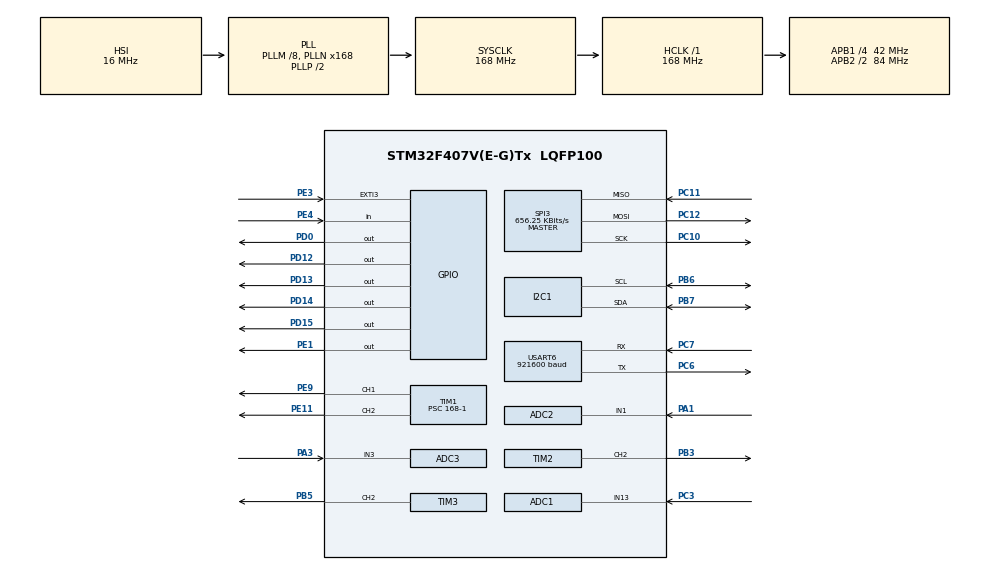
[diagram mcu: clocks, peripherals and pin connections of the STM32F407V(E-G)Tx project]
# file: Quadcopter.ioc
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ADC1.Channel-0\#ChannelRegularConversion=ADC_CHANNEL_13
ADC1.ClockPrescaler=ADC_CLOCK_SYNC_PCLK_DIV4
ADC1.ContinuousConvMode=ENABLE
ADC1.NbrOfConversion=1
ADC1.NbrOfConversionFlag=1
ADC1.Rank-0\#ChannelRegularConversion=1
ADC1.Resolution=ADC_RESOLUTION_8B
ADC1.SamplingTime-0\#ChannelRegularConversion=ADC_SAMPLETIME_3CYCLES
ADC1.master=1
ADC2.Channel-0\#ChannelRegularConversion=ADC_CHANNEL_1
ADC2.ClockPrescaler=ADC_CLOCK_SYNC_PCLK_DIV4
ADC2.ContinuousConvMode=ENABLE
ADC2.NbrOfConversionFlag=1
ADC2.Rank-0\#ChannelRegularConversion=1
ADC2.Resolution=ADC_RESOLUTION_8B
ADC2.SamplingTime-0\#ChannelRegularConversion=ADC_SAMPLETIME_3CYCLES
ADC3.Channel-0\#ChannelRegularConversion=ADC_CHANNEL_3
ADC3.ClockPrescaler=ADC_CLOCK_SYNC_PCLK_DIV4
ADC3.ContinuousConvMode=ENABLE
ADC3.NbrOfConversionFlag=1
ADC3.Rank-0\#ChannelRegularConversion=1
ADC3.Resolution=ADC_RESOLUTION_8B
ADC3.SamplingTime-0\#ChannelRegularConversion=ADC_SAMPLETIME_3CYCLES
I2C1.I2C_Mode=I2C_Fast
Mcu.Family=STM32F4
Mcu.Name=STM32F407V(E-G)Tx
Mcu.Package=LQFP100
NVIC.EXTI3_IRQn=true\:0\:0\:false\:false\:true\:true\:true\:true
NVIC.PriorityGroup=NVIC_PRIORITYGROUP_4
PA1.Signal=ADCx_IN1
PA3.Signal=ADCx_IN3
PB3.Signal=S_TIM2_CH2
PB5.Signal=S_TIM3_CH2
PB6.Mode=I2C
PB6.Signal=I2C1_SCL
PB7.Mode=I2C
PB7.Signal=I2C1_SDA
PC10.Mode=Full_Duplex_Master
PC10.Signal=SPI3_SCK
PC11.Mode=Full_Duplex_Master
PC11.Signal=SPI3_MISO
PC12.Mode=Full_Duplex_Master
PC12.Signal=SPI3_MOSI
PC14-OSC32_IN.Mode=LSE-External-Oscillator
PC14-OSC32_IN.Signal=RCC_OSC32_IN
PC15-OSC32_OUT.Mode=LSE-External-Oscillator
PC15-OSC32_OUT.Signal=RCC_OSC32_OUT
PC3.Signal=ADCx_IN13
PC6.Mode=Asynchronous
PC6.Signal=USART6_TX
PC7.Mode=Asynchronous
PC7.Signal=USART6_RX
PD0.Signal=GPIO_Output
PD12.Signal=GPIO_Output
PD13.Signal=GPIO_Output
PD14.Signal=GPIO_Output
PD15.Signal=GPIO_Output
PE1.Signal=GPIO_Output
PE11.Signal=S_TIM1_CH2
PE3.Signal=GPXTI3
PE4.Signal=GPIO_Input
PE9.Signal=S_TIM1_CH1
PH0-OSC_IN.Mode=HSE-External-Oscillator
PH0-OSC_IN.Signal=RCC_OSC_IN
PH1-OSC_OUT.Mode=HSE-External-Oscillator
PH1-OSC_OUT.Signal=RCC_OSC_OUT
ProjectManager.HeapSize=0x200
ProjectManager.StackSize=0x400
ProjectManager.TargetToolchain=STM32CubeIDE
RCC.48MHZClocksFreq_Value=67200000
RCC.AHBFreq_Value=168000000
RCC.APB1CLKDivider=RCC_HCLK_DIV4
RCC.APB1Freq_Value=42000000
RCC.APB1TimFreq_Value=84000000
RCC.APB2CLKDivider=RCC_HCLK_DIV2
RCC.APB2Freq_Value=84000000
RCC.APB2TimFreq_Value=168000000
RCC.CortexFreq_Value=168000000
RCC.HCLKFreq_Value=168000000
RCC.HSE_VALUE=8000000
RCC.HSI_VALUE=16000000
RCC.PLLM=8
RCC.PLLN=168
RCC.PLLQ=5
RCC.SYSCLKFreq_VALUE=168000000
RCC.SYSCLKSource=RCC_SYSCLKSOURCE_PLLCLK
RCC.VCOOutputFreq_Value=336000000
SH.ADCx_IN1.0=ADC2_IN1,IN1
SH.ADCx_IN13.0=ADC1_IN13,IN13
SH.ADCx_IN3.0=ADC3_IN3,IN3
SH.S_TIM1_CH1.0=TIM1_CH1,PWM Generation1 CH1
SH.S_TIM1_CH2.0=TIM1_CH2,PWM Generation2 CH2
SH.S_TIM2_CH2.0=TIM2_CH2,PWM Generation2 CH2
SH.S_TIM3_CH2.0=TIM3_CH2,PWM Generation2 CH2
SPI3.BaudRatePrescaler=SPI_BAUDRATEPRESCALER_64
SPI3.CLKPhase=SPI_PHASE_2EDGE
SPI3.CLKPolarity=SPI_POLARITY_HIGH
SPI3.CalculateBaudRate=656.25 KBits/s
SPI3.Direction=SPI_DIRECTION_2LINES
SPI3.Mode=SPI_MODE_MASTER
SPI3.VirtualNSS=VM_NSSHARD
SPI3.VirtualType=VM_MASTER
TIM1.Channel-PWM\ Generation1\ CH1=TIM_CHANNEL_1
TIM1.Channel-PWM\ Generation2\ CH2=TIM_CHANNEL_2
TIM1.Period=3000
TIM1.Prescaler=168-1
TIM12.Prescaler=84-1
TIM2.AutoReloadPreload=TIM_AUTORELOAD_PRELOAD_ENABLE
TIM2.Channel-PWM\ Generation2\ CH2=TIM_CHANNEL_2
TIM2.Period=3000
TIM2.Prescaler=84-1
TIM3.AutoReloadPreload=TIM_AUTORELOAD_PRELOAD_ENABLE
TIM3.Channel-PWM\ Generation2\ CH2=TIM_CHANNEL_2
TIM3.CounterMode=TIM_COUNTERMODE_UP
TIM3.Period=3000
TIM3.Prescaler=84-1
TIM5.Prescaler=21-1
USART6.BaudRate=921600
USART6.Mode=MODE_TX
USART6.VirtualMode=VM_ASYNC
USART6.WordLength=WORDLENGTH_8B
VP_TIM12_VS_ClockSourceINT.Mode=Internal
VP_TIM1_VS_ClockSourceINT.Mode=Internal
VP_TIM2_VS_ClockSourceINT.Mode=Internal
VP_TIM3_VS_ClockSourceINT.Mode=Internal
VP_TIM5_VS_ClockSourceINT.Mode=Internal
board=custom

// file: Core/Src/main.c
/* USER CODE BEGIN Header */
/**
  ******************************************************************************
  * @file           : main.c
  * @brief          : Main program body
  ******************************************************************************
  * @attention
  *
  * Copyright (c) 2024 STMicroelectronics.
  * All rights reserved.
  *
  * This software is licensed under terms that can be found in the LICENSE file
  * in the root directory of this software component.
  * If no LICENSE file comes with this software, it is provided AS-IS.
  *
  ******************************************************************************
  */
/* USER CODE END Header */
#include "main.h"

/* USER CODE BEGIN Includes */
/*#########################################################################################
 * Author:
 * =======
 * Toms Jiji Varghese
 * MTech ESE, DESE, IISc
 * Email: tomsjiji@iisc.ac.in
 * Ph.: 9925679264
 *
 *
 * Connections:
 * ===========
 *
 * RX_PPM 	-> PE3			-> TIM5
 *
 * MPU6050
 * -------
 * SCL		-> PB6
 * SDA		-> PB7
 *
 * PWM OUTPUT
 * ----------
 * M1		-> LT -> PB5 	-> TIM3_CH2
 * M2		-> LB -> PB3 	-> TIM2_CH2
 * M3		-> RT -> PE9 	-> TIM1_CH1
 * M4		-> RB -> PE11	-> TIM1_CH2
 *
 * Remaining
 * ---------
 * ADC Read
 * Interrupt Priorities
 * PID tuning channel mapping			----
 * Kalman/Complementary Filter			----
 * PID									----
 * Timer for PID						----
 * Calibrate Motor before starting		----
 * Compensate for battery voltage drop
 *
 * Make sure the receiver does not get plugged out	---
 *
 *
 * ALL LEDS CONSTANT ON - RX CALIBRATION STARTED
 * ALL LEDS BLINKING VERY FAST - RX CALIBRATION VARIFICATION GOING ON
 * ALL LEDS BLINKING NORMALLY  - WAITING TO ARM THE QUADCOPTER
 * LED ROTATES CW ONCE - MPU6050 INITIALIZATION DONE
 * LED ROTATES CW CONTINOUSLY - MPU6050 INITIALIZATION PROBLEM - REMOVE AND RECONNECT POWER
 *
 * Joystick special controls
 * =========================
 * RX Calibration verification
 * 			|-> left joystick to top right and right joystick to bottom  right
 * 			|-> left joystick to bottom left and right joystick to top  left
 * Both Joystick bottom and in opposite directions -> Initial ARM
 * Bottom - LEFT -> ARM/ UNARM
 * 			|-> Top-Right and then bottom -> all motors controlled directly via throttle
 * 				|-> bottom - left -> get out
 *
 * CH5 -> P Gain
 * CH6 -> D Gain
 *#########################################################################################
 */

// Interrupt priorities

#include "MPU6050.h"
#include "DEBUG_UART.h"
#include "ESP01.h"
#include <string.h>
#include <stdio.h>
#include "Quad.h"
#include "PWM.h"
/* USER CODE END Includes */

/* USER CODE BEGIN PD */
//#define PPM_READ
//#define PPM_READ_DEBUG
//#define LED_TEST
//#define LED_ROTATE_TEST
#define MPU6050__Testing
//#define MPU6050_MEMS
//#define PWM_testing
//#define QUAD_ARM_TEST
//#define ADC_TEST

//#define QUADCOPTER

#ifdef MPU6050__Testing
	#define PRINT_GYRO
	#define PRINT_ACC
#endif

#ifdef QUAD_ARM_TEST
	#ifndef PPM_READ
		#define PPM_READ
	#endif
#endif

#ifdef QUADCOPTER
	#ifndef PPM_READ
		#define PPM_READ
	#endif
#endif
//#define ESP01
/* USER CODE END PD */

ADC_HandleTypeDef hadc1;
ADC_HandleTypeDef hadc2;
ADC_HandleTypeDef hadc3;

I2C_HandleTypeDef hi2c1;

SPI_HandleTypeDef hspi3;

TIM_HandleTypeDef htim1;
TIM_HandleTypeDef htim2;
TIM_HandleTypeDef htim3;
TIM_HandleTypeDef htim5;
TIM_HandleTypeDef htim12;

UART_HandleTypeDef huart6;

/* USER CODE BEGIN PV */
volatile Quad_PID_DATA QUAD_PID;
volatile QUAD_ORIENTATION QUAD;
volatile Struct_Receiver RX_DATA;
#ifdef PPM_READ

	volatile uint16_t t=0;
	volatile int pulse=0;

	volatile uint32_t IC_Val1 = 0;
	volatile uint32_t IC_Val2 = 0;
	volatile uint32_t Difference = 0;
	volatile int Is_First_Captured = 0;

#endif

Struct_MPU6050 MPU6050;
uint8_t uart2_rx_data = 0;
uint8_t uart2_rx_flag = 0;
/* USER CODE END PV */

void SystemClock_Config(void);
static void MX_GPIO_Init(void);
static void MX_I2C1_Init(void);
static void MX_USART6_UART_Init(void);
static void MX_TIM1_Init(void);
static void MX_TIM2_Init(void);
static void MX_TIM3_Init(void);
static void MX_TIM5_Init(void);
static void MX_TIM12_Init(void);
static void MX_ADC1_Init(void);
static void MX_ADC2_Init(void);
static void MX_ADC3_Init(void);
static void MX_SPI3_Init(void);
/* USER CODE BEGIN PFP */
/*Function prototype for delay and UART2 configuration functions */

/* USER CODE END PFP */

/* USER CODE BEGIN 0 */
#ifdef PPM_READ
void HAL_GPIO_EXTI_Callback(uint16_t GPIO_Pin){
		#ifdef PPM_READ_DEBUG
		uint8_t message[100] = {'\0'};
		#endif
		if(GPIO_Pin == GPIO_PIN_3) // (E3 Pin)
		{
			t = __HAL_TIM_GET_COUNTER(&htim5)/4;
			__HAL_TIM_SET_COUNTER(&htim5, 0);
			if(t>3000){
				pulse = 1;
			}
			else{
				if(RX_DATA.Calibration_status == 1){
					switch(pulse)
					{
					case 1:
						RX_DATA.CH1 = (t-RX_DATA.CH1_offset)*RX_DATA.CH1_scale;
						if(RX_DATA.CH1 < 1000) RX_DATA.CH1 = 1000;
						else if(RX_DATA.CH1 > 2000) RX_DATA.CH1 = 2000;
						break;
					case 2:
						RX_DATA.CH2 = (t-RX_DATA.CH2_offset)*RX_DATA.CH2_scale;
						if(RX_DATA.CH2 < 1000) RX_DATA.CH2 = 1000;
						else if(RX_DATA.CH2 > 2000) RX_DATA.CH2 = 2000;
						break;
					case 3:
						RX_DATA.CH3 = (t-RX_DATA.CH3_offset)*RX_DATA.CH3_scale;
						if(RX_DATA.CH3 < 1000) RX_DATA.CH3 = 1000;
						else if(RX_DATA.CH3 > 2000) RX_DATA.CH3 = 2000;
						break;
					case 4:
						RX_DATA.CH4 = (t-RX_DATA.CH4_offset)*RX_DATA.CH4_scale;
						if(RX_DATA.CH4 < 1000) RX_DATA.CH4 = 1000;
						else if(RX_DATA.CH4 > 2000) RX_DATA.CH4 = 2000;
						break;
					case 5:
						RX_DATA.CH5 = t;
						if(RX_DATA.CH5 < 1000) RX_DATA.CH5 = 1000;
						else if(RX_DATA.CH5 > 2000) RX_DATA.CH5 = 2000;
						break;
					case 6:
						RX_DATA.CH6 = t;
						if(RX_DATA.CH6 < 1000) RX_DATA.CH6 = 1000;
						else if(RX_DATA.CH6 > 2000) RX_DATA.CH6 = 2000;
						break;
					default:
						break;
					}
				}
				else{
					switch(pulse)
					{
					case 1:
						RX_DATA.CH1 = t;
						break;
					case 2:
						RX_DATA.CH2 = t;
						break;
					case 3:
						RX_DATA.CH3 = t;
						break;
					case 4:
						RX_DATA.CH4 = t;
						break;
					case 5:
						RX_DATA.CH5 = t;
						break;
					case 6:
						RX_DATA.CH6 = t;
						break;
					default:
						break;
					}
				}

				pulse++;
				if (pulse>8){
					pulse = 0;
					if(t>100)
						RX_DATA.RX_Valid = 1;
					#ifdef PPM_READ_DEBUG
						sprintf(message, "%u\t-\t%u\t-\t%u\t-\t%u\t-\t%u\t-\t%u\r\n",RX_DATA.CH1, RX_DATA.CH2, RX_DATA.CH3, RX_DATA.CH4, RX_DATA.CH5, RX_DATA.CH6);
						HAL_UART_Transmit(&huart6, message, sizeof(message), 100);
					#endif
				}
			}
		}
	}
#endif
/* USER CODE END 0 */

int main(void)
{
  /* USER CODE BEGIN 1 */
	char message[300] = {'\0'};
 	RX_DATA.Calibration_status = 0;
 	RX_DATA.RX_Valid = 0;
 	RX_DATA.CH1_max = 0;
 	RX_DATA.CH2_max = 0;
 	RX_DATA.CH3_max = 0;
 	RX_DATA.CH4_max = 0;

 	RX_DATA.CH1_min = 2000;
 	RX_DATA.CH2_min = 2000;
 	RX_DATA.CH3_min = 2000;
 	RX_DATA.CH4_min = 2000;

 	RX_DATA.CH1_offset = 0;
 	RX_DATA.CH2_offset = 0;
 	RX_DATA.CH3_offset = 0;
 	RX_DATA.CH4_offset = 0;

 	RX_DATA.CH1_scale = 1;
 	RX_DATA.CH2_scale = 1;
 	RX_DATA.CH3_scale = 1;
 	RX_DATA.CH4_scale = 1;
  /* USER CODE END 1 */

  /* MCU Configuration--------------------------------------------------------*/

  /* Reset of all peripherals, Initializes the Flash interface and the Systick. */
  HAL_Init();

  /* Configure the system clock */
  SystemClock_Config();

  /* Initialize all configured peripherals */
  MX_GPIO_Init();
  MX_I2C1_Init();
  MX_USART6_UART_Init();
  MX_TIM1_Init();
  MX_TIM2_Init();
  MX_TIM3_Init();
  MX_TIM5_Init();
  MX_TIM12_Init();
  MX_ADC1_Init();
  MX_ADC2_Init();
  MX_ADC3_Init();
  MX_SPI3_Init();
  /* USER CODE BEGIN 2 */

#ifdef PPM_READ
  HAL_TIM_Base_Start(&htim5);
#endif

#ifdef PWM_testing
  PWM_Start();
#endif

#ifdef MPU6050_MEMS
  MPU6050_Initialization();
  Calibrate_Gyro(&MPU6050);
#endif

#ifdef MPU6050__Testing
  MPU6050_Initialization();
  Calibrate_Gyro(&MPU6050);
  while(1){
	  MPU6050_Data(&MPU6050);

#ifdef PRINT_ACC
#ifndef PRINT_GYRO
	  sprintf(message, "AX:%f\t AY:%f\t AZ:%f\n", MPU6050.acc_x, MPU6050.acc_y, MPU6050.acc_z);
	  HAL_UART_Transmit(&huart6, (uint8_t *)message, strlen(message), 100);
#endif
#endif

#ifdef PRINT_GYRO
#ifndef PRINT_ACC
	  sprintf(message, "Gpitch:%f\t GRoll:%f\t GYaw:%f\n", MPU6050.gyro_pitch, MPU6050.gyro_roll, MPU6050.gyro_yaw);
	  HAL_UART_Transmit(&huart6, (uint8_t *)message, strlen(message), 100);
#endif
#endif

#ifdef PRINT_GYRO
#ifdef PRINT_ACC
	  sprintf(message, "AX:%f\tAY:%f\tAZ:%f\tGpitch:%f\tGRoll:%f\tGYaw:%f\r\n", MPU6050.acc_x, MPU6050.acc_y, MPU6050.acc_z, MPU6050.gyro_pitch, MPU6050.gyro_roll, MPU6050.gyro_yaw);
	  HAL_UART_Transmit(&huart6, (uint8_t *)message, strlen(message), 100);
#endif
#endif
  }
#endif

#ifdef ESP01
  ESP_Init();
#endif

#ifdef  QUAD_ARM_TEST
  ARM_Quad();
#endif

#ifdef QUADCOPTER
  HAL_TIM_Base_Start(&htim12);
  quad_init();
#endif

#ifdef ADC_TEST
  HAL_ADC_Start(&hadc1);
  HAL_ADC_Start(&hadc2);
  HAL_ADC_Start(&hadc3);
#endif
  /* USER CODE END 2 */

  /* Infinite loop */
  /* USER CODE BEGIN WHILE */
  while (1)
  {
#ifdef ADC_TEST
	  HAL_ADC_Start(&hadc1);
	  HAL_ADC_Start(&hadc2);
	  HAL_ADC_Start(&hadc3);
	  HAL_ADC_PollForConversion(&hadc1, 1);
	  HAL_ADC_PollForConversion(&hadc2, 1);
	  HAL_ADC_PollForConversion(&hadc3, 1);

	  uint8_t x = HAL_ADC_GetValue(&hadc1);
	  uint8_t y = HAL_ADC_GetValue(&hadc2);
	  uint8_t z = HAL_ADC_GetValue(&hadc3);
	  sprintf(message, "x:%u \t y:%u \t z:%u\r\n",x,y,z);
	  HAL_UART_Transmit(&huart6, message, sizeof(message), 100);
#endif

#ifdef PWM_testing
	  int16_t dutyCycle = 1000;
	  while(dutyCycle < 2000)
	 	        {
		  	  	  	SET_PWM_Value(dutyCycle,dutyCycle,dutyCycle,dutyCycle);
					dutyCycle += 100;
	 	            HAL_Delay(1000);
	 	        }
	 	        while(dutyCycle > 1000)
	 	        {
	 	        	SET_PWM_Value(dutyCycle,dutyCycle,dutyCycle,dutyCycle);
	 	            dutyCycle -= 100;
	 	            HAL_Delay(1000);
	 	        }
#endif

#ifdef LED_TEST
	  set_Leds(1,0,0,0);
	  HAL_Delay(1000);

	  set_Leds(0,1,0,0);
	  HAL_Delay(1000);

	  set_Leds(0,0,1,0);
	  HAL_Delay(1000);

	  set_Leds(0,0,0,1);
	  HAL_Delay(1000);
#endif

#ifdef LED_ROTATE_TEST
	  Led_Rotate_CW(100,5);
	  Led_Rotate_CCW(100,5);
#endif
    /* USER CODE END WHILE */

    /* USER CODE BEGIN 3 */

#ifdef QUADCOPTER
	  quad_fly();
#endif
  }

  /* USER CODE END 3 */
}

void SystemClock_Config(void)
{
  RCC_OscInitTypeDef RCC_OscInitStruct = {0};
  RCC_ClkInitTypeDef RCC_ClkInitStruct = {0};

  /** Configure the main internal regulator output voltage
  */
  __HAL_RCC_PWR_CLK_ENABLE();
  __HAL_PWR_VOLTAGESCALING_CONFIG(PWR_REGULATOR_VOLTAGE_SCALE1);

  /** Initializes the RCC Oscillators according to the specified parameters
  * in the RCC_OscInitTypeDef structure.
  */
  RCC_OscInitStruct.OscillatorType = RCC_OSCILLATORTYPE_HSI;
  RCC_OscInitStruct.HSIState = RCC_HSI_ON;
  RCC_OscInitStruct.HSICalibrationValue = RCC_HSICALIBRATION_DEFAULT;
  RCC_OscInitStruct.PLL.PLLState = RCC_PLL_ON;
  RCC_OscInitStruct.PLL.PLLSource = RCC_PLLSOURCE_HSI;
  RCC_OscInitStruct.PLL.PLLM = 8;
  RCC_OscInitStruct.PLL.PLLN = 168;
  RCC_OscInitStruct.PLL.PLLP = RCC_PLLP_DIV2;
  RCC_OscInitStruct.PLL.PLLQ = 5;
  if (HAL_RCC_OscConfig(&RCC_OscInitStruct) != HAL_OK)
  {
    Error_Handler();
  }

  /** Initializes the CPU, AHB and APB buses clocks
  */
  RCC_ClkInitStruct.ClockType = RCC_CLOCKTYPE_HCLK|RCC_CLOCKTYPE_SYSCLK
                              |RCC_CLOCKTYPE_PCLK1|RCC_CLOCKTYPE_PCLK2;
  RCC_ClkInitStruct.SYSCLKSource = RCC_SYSCLKSOURCE_PLLCLK;
  RCC_ClkInitStruct.AHBCLKDivider = RCC_SYSCLK_DIV1;
  RCC_ClkInitStruct.APB1CLKDivider = RCC_HCLK_DIV4;
  RCC_ClkInitStruct.APB2CLKDivider = RCC_HCLK_DIV2;

  if (HAL_RCC_ClockConfig(&RCC_ClkInitStruct, FLASH_LATENCY_5) != HAL_OK)
  {
    Error_Handler();
  }
}

static void MX_ADC1_Init(void)
{

  ADC_ChannelConfTypeDef sConfig = {0};

  /** Configure the global features of the ADC (Clock, Resolution, Data Alignment and number of conversion)
  */
  hadc1.Instance = ADC1;
  hadc1.Init.ClockPrescaler = ADC_CLOCK_SYNC_PCLK_DIV4;
  hadc1.Init.Resolution = ADC_RESOLUTION_8B;
  hadc1.Init.ScanConvMode = DISABLE;
  hadc1.Init.ContinuousConvMode = ENABLE;
  hadc1.Init.DiscontinuousConvMode = DISABLE;
  hadc1.Init.ExternalTrigConvEdge = ADC_EXTERNALTRIGCONVEDGE_NONE;
  hadc1.Init.ExternalTrigConv = ADC_SOFTWARE_START;
  hadc1.Init.DataAlign = ADC_DATAALIGN_RIGHT;
  hadc1.Init.NbrOfConversion = 1;
  hadc1.Init.DMAContinuousRequests = DISABLE;
  hadc1.Init.EOCSelection = ADC_EOC_SINGLE_CONV;
  if (HAL_ADC_Init(&hadc1) != HAL_OK)
  {
    Error_Handler();
  }

  /** Configure for the selected ADC regular channel its corresponding rank in the sequencer and its sample time.
  */
  sConfig.Channel = ADC_CHANNEL_13;
  sConfig.Rank = 1;
  sConfig.SamplingTime = ADC_SAMPLETIME_3CYCLES;
  if (HAL_ADC_ConfigChannel(&hadc1, &sConfig) != HAL_OK)
  {
    Error_Handler();
  }

}

static void MX_ADC2_Init(void)
{

  ADC_ChannelConfTypeDef sConfig = {0};

  /** Configure the global features of the ADC (Clock, Resolution, Data Alignment and number of conversion)
  */
  hadc2.Instance = ADC2;
  hadc2.Init.ClockPrescaler = ADC_CLOCK_SYNC_PCLK_DIV4;
  hadc2.Init.Resolution = ADC_RESOLUTION_8B;
  hadc2.Init.ScanConvMode = DISABLE;
  hadc2.Init.ContinuousConvMode = ENABLE;
  hadc2.Init.DiscontinuousConvMode = DISABLE;
  hadc2.Init.ExternalTrigConvEdge = ADC_EXTERNALTRIGCONVEDGE_NONE;
  hadc2.Init.ExternalTrigConv = ADC_SOFTWARE_START;
  hadc2.Init.DataAlign = ADC_DATAALIGN_RIGHT;
  hadc2.Init.NbrOfConversion = 1;
  hadc2.Init.DMAContinuousRequests = DISABLE;
  hadc2.Init.EOCSelection = ADC_EOC_SINGLE_CONV;
  if (HAL_ADC_Init(&hadc2) != HAL_OK)
  {
    Error_Handler();
  }

  /** Configure for the selected ADC regular channel its corresponding rank in the sequencer and its sample time.
  */
  sConfig.Channel = ADC_CHANNEL_1;
  sConfig.Rank = 1;
  sConfig.SamplingTime = ADC_SAMPLETIME_3CYCLES;
  if (HAL_ADC_ConfigChannel(&hadc2, &sConfig) != HAL_OK)
  {
    Error_Handler();
  }

}

static void MX_ADC3_Init(void)
{

  ADC_ChannelConfTypeDef sConfig = {0};

  /** Configure the global features of the ADC (Clock, Resolution, Data Alignment and number of conversion)
  */
  hadc3.Instance = ADC3;
  hadc3.Init.ClockPrescaler = ADC_CLOCK_SYNC_PCLK_DIV4;
  hadc3.Init.Resolution = ADC_RESOLUTION_8B;
  hadc3.Init.ScanConvMode = DISABLE;
  hadc3.Init.ContinuousConvMode = ENABLE;
  hadc3.Init.DiscontinuousConvMode = DISABLE;
  hadc3.Init.ExternalTrigConvEdge = ADC_EXTERNALTRIGCONVEDGE_NONE;
  hadc3.Init.ExternalTrigConv = ADC_SOFTWARE_START;
  hadc3.Init.DataAlign = ADC_DATAALIGN_RIGHT;
  hadc3.Init.NbrOfConversion = 1;
  hadc3.Init.DMAContinuousRequests = DISABLE;
  hadc3.Init.EOCSelection = ADC_EOC_SINGLE_CONV;
  if (HAL_ADC_Init(&hadc3) != HAL_OK)
  {
    Error_Handler();
  }

  /** Configure for the selected ADC regular channel its corresponding rank in the sequencer and its sample time.
  */
  sConfig.Channel = ADC_CHANNEL_3;
  sConfig.Rank = 1;
  sConfig.SamplingTime = ADC_SAMPLETIME_3CYCLES;
  if (HAL_ADC_ConfigChannel(&hadc3, &sConfig) != HAL_OK)
  {
    Error_Handler();
  }

}

static void MX_I2C1_Init(void)
{

  hi2c1.Instance = I2C1;
  hi2c1.Init.ClockSpeed = 400000;
  hi2c1.Init.DutyCycle = I2C_DUTYCYCLE_2;
  hi2c1.Init.OwnAddress1 = 0;
  hi2c1.Init.AddressingMode = I2C_ADDRESSINGMODE_7BIT;
  hi2c1.Init.DualAddressMode = I2C_DUALADDRESS_DISABLE;
  hi2c1.Init.OwnAddress2 = 0;
  hi2c1.Init.GeneralCallMode = I2C_GENERALCALL_DISABLE;
  hi2c1.Init.NoStretchMode = I2C_NOSTRETCH_DISABLE;
  if (HAL_I2C_Init(&hi2c1) != HAL_OK)
  {
    Error_Handler();
  }

}

static void MX_SPI3_Init(void)
{

  /* SPI3 parameter configuration*/
  hspi3.Instance = SPI3;
  hspi3.Init.Mode = SPI_MODE_MASTER;
  hspi3.Init.Direction = SPI_DIRECTION_2LINES;
  hspi3.Init.DataSize = SPI_DATASIZE_8BIT;
  hspi3.Init.CLKPolarity = SPI_POLARITY_HIGH;
  hspi3.Init.CLKPhase = SPI_PHASE_2EDGE;
  hspi3.Init.NSS = SPI_NSS_SOFT;
  hspi3.Init.BaudRatePrescaler = SPI_BAUDRATEPRESCALER_64;
  hspi3.Init.FirstBit = SPI_FIRSTBIT_MSB;
  hspi3.Init.TIMode = SPI_TIMODE_DISABLE;
  hspi3.Init.CRCCalculation = SPI_CRCCALCULATION_DISABLE;
  hspi3.Init.CRCPolynomial = 10;
  if (HAL_SPI_Init(&hspi3) != HAL_OK)
  {
    Error_Handler();
  }

}

static void MX_TIM1_Init(void)
{

  TIM_ClockConfigTypeDef sClockSourceConfig = {0};
  TIM_MasterConfigTypeDef sMasterConfig = {0};
  TIM_OC_InitTypeDef sConfigOC = {0};
  TIM_BreakDeadTimeConfigTypeDef sBreakDeadTimeConfig = {0};

  htim1.Instance = TIM1;
  htim1.Init.Prescaler = 168-1;
  htim1.Init.CounterMode = TIM_COUNTERMODE_UP;
  htim1.Init.Period = 3000;
  htim1.Init.ClockDivision = TIM_CLOCKDIVISION_DIV1;
  htim1.Init.RepetitionCounter = 0;
  htim1.Init.AutoReloadPreload = TIM_AUTORELOAD_PRELOAD_DISABLE;
  if (HAL_TIM_Base_Init(&htim1) != HAL_OK)
  {
    Error_Handler();
  }
  sClockSourceConfig.ClockSource = TIM_CLOCKSOURCE_INTERNAL;
  if (HAL_TIM_ConfigClockSource(&htim1, &sClockSourceConfig) != HAL_OK)
  {
    Error_Handler();
  }
  if (HAL_TIM_PWM_Init(&htim1) != HAL_OK)
  {
    Error_Handler();
  }
  sMasterConfig.MasterOutputTrigger = TIM_TRGO_RESET;
  sMasterConfig.MasterSlaveMode = TIM_MASTERSLAVEMODE_DISABLE;
  if (HAL_TIMEx_MasterConfigSynchronization(&htim1, &sMasterConfig) != HAL_OK)
  {
    Error_Handler();
  }
  sConfigOC.OCMode = TIM_OCMODE_PWM1;
  sConfigOC.Pulse = 0;
  sConfigOC.OCPolarity = TIM_OCPOLARITY_HIGH;
  sConfigOC.OCNPolarity = TIM_OCNPOLARITY_HIGH;
  sConfigOC.OCFastMode = TIM_OCFAST_DISABLE;
  sConfigOC.OCIdleState = TIM_OCIDLESTATE_RESET;
  sConfigOC.OCNIdleState = TIM_OCNIDLESTATE_RESET;
  if (HAL_TIM_PWM_ConfigChannel(&htim1, &sConfigOC, TIM_CHANNEL_1) != HAL_OK)
  {
    Error_Handler();
  }
  if (HAL_TIM_PWM_ConfigChannel(&htim1, &sConfigOC, TIM_CHANNEL_2) != HAL_OK)
  {
    Error_Handler();
  }
  sBreakDeadTimeConfig.OffStateRunMode = TIM_OSSR_DISABLE;
  sBreakDeadTimeConfig.OffStateIDLEMode = TIM_OSSI_DISABLE;
  sBreakDeadTimeConfig.LockLevel = TIM_LOCKLEVEL_OFF;
  sBreakDeadTimeConfig.DeadTime = 0;
  sBreakDeadTimeConfig.BreakState = TIM_BREAK_DISABLE;
  sBreakDeadTimeConfig.BreakPolarity = TIM_BREAKPOLARITY_HIGH;
  sBreakDeadTimeConfig.AutomaticOutput = TIM_AUTOMATICOUTPUT_DISABLE;
  if (HAL_TIMEx_ConfigBreakDeadTime(&htim1, &sBreakDeadTimeConfig) != HAL_OK)
  {
    Error_Handler();
  }
  HAL_TIM_MspPostInit(&htim1);

}

static void MX_TIM2_Init(void)
{

  TIM_ClockConfigTypeDef sClockSourceConfig = {0};
  TIM_MasterConfigTypeDef sMasterConfig = {0};
  TIM_OC_InitTypeDef sConfigOC = {0};

  htim2.Instance = TIM2;
  htim2.Init.Prescaler = 84-1;
  htim2.Init.CounterMode = TIM_COUNTERMODE_UP;
  htim2.Init.Period = 3000;
  htim2.Init.ClockDivision = TIM_CLOCKDIVISION_DIV1;
  htim2.Init.AutoReloadPreload = TIM_AUTORELOAD_PRELOAD_ENABLE;
  if (HAL_TIM_Base_Init(&htim2) != HAL_OK)
  {
    Error_Handler();
  }
  sClockSourceConfig.ClockSource = TIM_CLOCKSOURCE_INTERNAL;
  if (HAL_TIM_ConfigClockSource(&htim2, &sClockSourceConfig) != HAL_OK)
  {
    Error_Handler();
  }
  if (HAL_TIM_PWM_Init(&htim2) != HAL_OK)
  {
    Error_Handler();
  }
  sMasterConfig.MasterOutputTrigger = TIM_TRGO_RESET;
  sMasterConfig.MasterSlaveMode = TIM_MASTERSLAVEMODE_DISABLE;
  if (HAL_TIMEx_MasterConfigSynchronization(&htim2, &sMasterConfig) != HAL_OK)
  {
    Error_Handler();
  }
  sConfigOC.OCMode = TIM_OCMODE_PWM1;
  sConfigOC.Pulse = 0;
  sConfigOC.OCPolarity = TIM_OCPOLARITY_HIGH;
  sConfigOC.OCFastMode = TIM_OCFAST_DISABLE;
  if (HAL_TIM_PWM_ConfigChannel(&htim2, &sConfigOC, TIM_CHANNEL_2) != HAL_OK)
  {
    Error_Handler();
  }
  HAL_TIM_MspPostInit(&htim2);

}

static void MX_TIM3_Init(void)
{

  TIM_ClockConfigTypeDef sClockSourceConfig = {0};
  TIM_MasterConfigTypeDef sMasterConfig = {0};
  TIM_OC_InitTypeDef sConfigOC = {0};

  htim3.Instance = TIM3;
  htim3.Init.Prescaler = 84-1;
  htim3.Init.CounterMode = TIM_COUNTERMODE_UP;
  htim3.Init.Period = 3000;
  htim3.Init.ClockDivision = TIM_CLOCKDIVISION_DIV1;
  htim3.Init.AutoReloadPreload = TIM_AUTORELOAD_PRELOAD_ENABLE;
  if (HAL_TIM_Base_Init(&htim3) != HAL_OK)
  {
    Error_Handler();
  }
  sClockSourceConfig.ClockSource = TIM_CLOCKSOURCE_INTERNAL;
  if (HAL_TIM_ConfigClockSource(&htim3, &sClockSourceConfig) != HAL_OK)
  {
    Error_Handler();
  }
  if (HAL_TIM_PWM_Init(&htim3) != HAL_OK)
  {
    Error_Handler();
  }
  sMasterConfig.MasterOutputTrigger = TIM_TRGO_RESET;
  sMasterConfig.MasterSlaveMode = TIM_MASTERSLAVEMODE_DISABLE;
  if (HAL_TIMEx_MasterConfigSynchronization(&htim3, &sMasterConfig) != HAL_OK)
  {
    Error_Handler();
  }
  sConfigOC.OCMode = TIM_OCMODE_PWM1;
  sConfigOC.Pulse = 0;
  sConfigOC.OCPolarity = TIM_OCPOLARITY_HIGH;
  sConfigOC.OCFastMode = TIM_OCFAST_DISABLE;
  if (HAL_TIM_PWM_ConfigChannel(&htim3, &sConfigOC, TIM_CHANNEL_2) != HAL_OK)
  {
    Error_Handler();
  }
  HAL_TIM_MspPostInit(&htim3);

}

static void MX_TIM5_Init(void)
{

  TIM_ClockConfigTypeDef sClockSourceConfig = {0};
  TIM_MasterConfigTypeDef sMasterConfig = {0};

  htim5.Instance = TIM5;
  htim5.Init.Prescaler = 21-1;
  htim5.Init.CounterMode = TIM_COUNTERMODE_UP;
  htim5.Init.Period = 4294967295;
  htim5.Init.ClockDivision = TIM_CLOCKDIVISION_DIV1;
  htim5.Init.AutoReloadPreload = TIM_AUTORELOAD_PRELOAD_DISABLE;
  if (HAL_TIM_Base_Init(&htim5) != HAL_OK)
  {
    Error_Handler();
  }
  sClockSourceConfig.ClockSource = TIM_CLOCKSOURCE_INTERNAL;
  if (HAL_TIM_ConfigClockSource(&htim5, &sClockSourceConfig) != HAL_OK)
  {
    Error_Handler();
  }
  sMasterConfig.MasterOutputTrigger = TIM_TRGO_RESET;
  sMasterConfig.MasterSlaveMode = TIM_MASTERSLAVEMODE_DISABLE;
  if (HAL_TIMEx_MasterConfigSynchronization(&htim5, &sMasterConfig) != HAL_OK)
  {
    Error_Handler();
  }

}

static void MX_TIM12_Init(void)
{

  TIM_ClockConfigTypeDef sClockSourceConfig = {0};

  htim12.Instance = TIM12;
  htim12.Init.Prescaler = 84-1;
  htim12.Init.CounterMode = TIM_COUNTERMODE_UP;
  htim12.Init.Period = 65535;
  htim12.Init.ClockDivision = TIM_CLOCKDIVISION_DIV1;
  htim12.Init.AutoReloadPreload = TIM_AUTORELOAD_PRELOAD_DISABLE;
  if (HAL_TIM_Base_Init(&htim12) != HAL_OK)
  {
    Error_Handler();
  }
  sClockSourceConfig.ClockSource = TIM_CLOCKSOURCE_INTERNAL;
  if (HAL_TIM_ConfigClockSource(&htim12, &sClockSourceConfig) != HAL_OK)
  {
    Error_Handler();
  }

}

static void MX_USART6_UART_Init(void)
{

  huart6.Instance = USART6;
  huart6.Init.BaudRate = 921600;
  huart6.Init.WordLength = UART_WORDLENGTH_8B;
  huart6.Init.StopBits = UART_STOPBITS_1;
  huart6.Init.Parity = UART_PARITY_NONE;
  huart6.Init.Mode = UART_MODE_TX;
  huart6.Init.HwFlowCtl = UART_HWCONTROL_NONE;
  huart6.Init.OverSampling = UART_OVERSAMPLING_16;
  if (HAL_UART_Init(&huart6) != HAL_OK)
  {
    Error_Handler();
  }

}

static void MX_GPIO_Init(void)
{
  GPIO_InitTypeDef GPIO_InitStruct = {0};

  /* GPIO Ports Clock Enable */
  __HAL_RCC_GPIOE_CLK_ENABLE();
  __HAL_RCC_GPIOC_CLK_ENABLE();
  __HAL_RCC_GPIOH_CLK_ENABLE();
  __HAL_RCC_GPIOA_CLK_ENABLE();
  __HAL_RCC_GPIOD_CLK_ENABLE();
  __HAL_RCC_GPIOB_CLK_ENABLE();

  /*Configure GPIO pin Output Level */
  HAL_GPIO_WritePin(GPIOD, GPIO_PIN_12|GPIO_PIN_13|GPIO_PIN_14|GPIO_PIN_15
                          |GPIO_PIN_0, GPIO_PIN_RESET);

  /*Configure GPIO pin Output Level */
  HAL_GPIO_WritePin(GPIOE, GPIO_PIN_1, GPIO_PIN_RESET);

  /*Configure GPIO pin : PE3 */
  GPIO_InitStruct.Pin = GPIO_PIN_3;
  GPIO_InitStruct.Mode = GPIO_MODE_IT_RISING;
  GPIO_InitStruct.Pull = GPIO_NOPULL;
  HAL_GPIO_Init(GPIOE, &GPIO_InitStruct);

  /*Configure GPIO pin : PE4 */
  GPIO_InitStruct.Pin = GPIO_PIN_4;
  GPIO_InitStruct.Mode = GPIO_MODE_INPUT;
  GPIO_InitStruct.Pull = GPIO_NOPULL;
  HAL_GPIO_Init(GPIOE, &GPIO_InitStruct);

  /*Configure GPIO pins : PD12 PD13 PD14 PD15
                           PD0 */
  GPIO_InitStruct.Pin = GPIO_PIN_12|GPIO_PIN_13|GPIO_PIN_14|GPIO_PIN_15
                          |GPIO_PIN_0;
  GPIO_InitStruct.Mode = GPIO_MODE_OUTPUT_PP;
  GPIO_InitStruct.Pull = GPIO_NOPULL;
  GPIO_InitStruct.Speed = GPIO_SPEED_FREQ_LOW;
  HAL_GPIO_Init(GPIOD, &GPIO_InitStruct);

  /*Configure GPIO pin : PE1 */
  GPIO_InitStruct.Pin = GPIO_PIN_1;
  GPIO_InitStruct.Mode = GPIO_MODE_OUTPUT_PP;
  GPIO_InitStruct.Pull = GPIO_NOPULL;
  GPIO_InitStruct.Speed = GPIO_SPEED_FREQ_LOW;
  HAL_GPIO_Init(GPIOE, &GPIO_InitStruct);

  /* EXTI interrupt init*/
  HAL_NVIC_SetPriority(EXTI3_IRQn, 0, 0);
  HAL_NVIC_EnableIRQ(EXTI3_IRQn);

}

void Error_Handler(void)
{
  __disable_irq();
  while (1)
  {
  }
}
